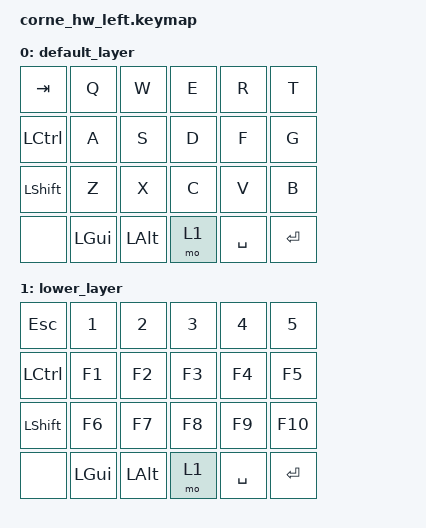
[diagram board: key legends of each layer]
#include <behaviors.dtsi>
#include <dt-bindings/zmk/keys.h>
#include <dt-bindings/zmk/bt.h>

/ {
    keymap {
        compatible = "zmk,keymap";

        default_layer {
            bindings = <
                &kp TAB    &kp Q  &kp W  &kp E  &kp R  &kp T
                &kp LCTRL  &kp A  &kp S  &kp D  &kp F  &kp G
                &kp LSHFT  &kp Z  &kp X  &kp C  &kp V  &kp B
                &none      &kp LGUI  &kp LALT  &mo 1  &kp SPACE  &kp RET
            >;
        };

        lower_layer {
            bindings = <
                &kp ESC    &kp N1  &kp N2  &kp N3  &kp N4  &kp N5
                &kp LCTRL  &kp F1  &kp F2  &kp F3  &kp F4  &kp F5
                &kp LSHFT  &kp F6  &kp F7  &kp F8  &kp F9  &kp F10
                &none      &kp LGUI  &kp LALT  &mo 1  &kp SPACE  &kp RET
            >;
        };
    };
};
